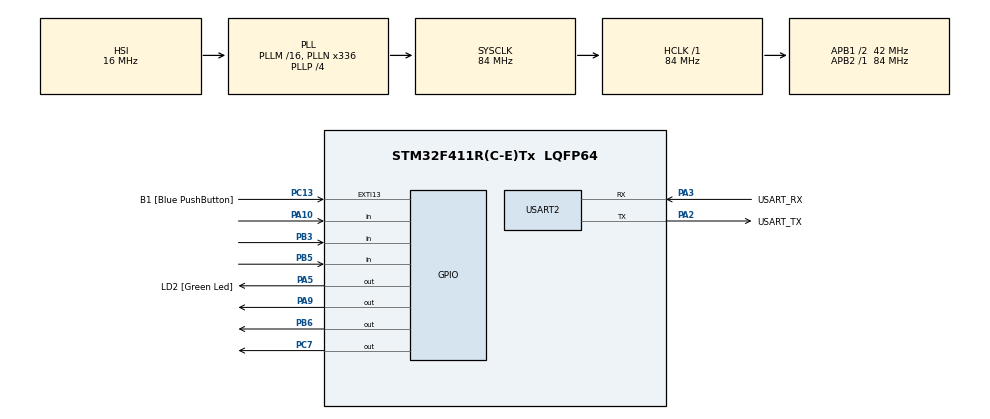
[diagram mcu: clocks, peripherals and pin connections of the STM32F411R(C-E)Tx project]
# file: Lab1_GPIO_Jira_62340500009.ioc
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Mcu.Family=STM32F4
Mcu.Name=STM32F411R(C-E)Tx
Mcu.Package=LQFP64
NVIC.PriorityGroup=NVIC_PRIORITYGROUP_0
PA10.Signal=GPIO_Input
PA13.GPIO_Label=TMS
PA13.Mode=Serial_Wire
PA13.Signal=SYS_JTMS-SWDIO
PA14.GPIO_Label=TCK
PA14.Mode=Serial_Wire
PA14.Signal=SYS_JTCK-SWCLK
PA2.GPIO_Label=USART_TX
PA2.Mode=Asynchronous
PA2.Signal=USART2_TX
PA3.GPIO_Label=USART_RX
PA3.Mode=Asynchronous
PA3.Signal=USART2_RX
PA5.GPIO_Label=LD2 [Green Led]
PA5.Signal=GPIO_Output
PA9.Signal=GPIO_Output
PB3.Signal=GPIO_Input
PB5.Signal=GPIO_Input
PB6.Signal=GPIO_Output
PC13-ANTI_TAMP.GPIO_Label=B1 [Blue PushButton]
PC13-ANTI_TAMP.GPIO_ModeDefaultEXTI=GPIO_MODE_IT_FALLING
PC13-ANTI_TAMP.Signal=GPXTI13
PC14-OSC32_IN.Mode=LSE-External-Oscillator
PC14-OSC32_IN.Signal=RCC_OSC32_IN
PC15-OSC32_OUT.Mode=LSE-External-Oscillator
PC15-OSC32_OUT.Signal=RCC_OSC32_OUT
PC7.Signal=GPIO_Output
PH0\ -\ OSC_IN.Mode=HSE-External-Clock-Source
PH0\ -\ OSC_IN.Signal=RCC_OSC_IN
PH1\ -\ OSC_OUT.Mode=HSE-External-Clock-Source
PH1\ -\ OSC_OUT.Signal=RCC_OSC_OUT
ProjectManager.HeapSize=0x200
ProjectManager.StackSize=0x400
ProjectManager.TargetToolchain=STM32CubeIDE
RCC.48MHZClocksFreq_Value=84000000
RCC.AHBFreq_Value=84000000
RCC.APB1CLKDivider=RCC_HCLK_DIV2
RCC.APB1Freq_Value=42000000
RCC.APB1TimFreq_Value=84000000
RCC.APB2Freq_Value=84000000
RCC.APB2TimFreq_Value=84000000
RCC.CortexFreq_Value=84000000
RCC.FLatency-AdvancedSettings=FLASH_LATENCY_2
RCC.HCLKFreq_Value=84000000
RCC.HSE_VALUE=8000000
RCC.HSI_VALUE=16000000
RCC.PLLN=336
RCC.PLLP=RCC_PLLP_DIV4
RCC.SYSCLKFreq_VALUE=84000000
RCC.SYSCLKSource=RCC_SYSCLKSOURCE_PLLCLK
RCC.VCOOutputFreq_Value=336000000
USART2.VirtualMode=VM_ASYNC
board=NUCLEO-F411RE

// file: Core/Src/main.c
/* USER CODE BEGIN Header */
/**
 ******************************************************************************
 * @file           : main.c
 * @brief          : Main program body
 ******************************************************************************
 * @attention
 *
 * <h2><center>&copy; Copyright (c) 2021 STMicroelectronics.
 * All rights reserved.</center></h2>
 *
 * This software component is licensed by ST under BSD 3-Clause license,
 * the "License"; You may not use this file except in compliance with the
 * License. You may obtain a copy of the License at:
 *                        opensource.org/licenses/BSD-3-Clause
 *
 ******************************************************************************
 */
/* USER CODE END Header */
#include "main.h"

UART_HandleTypeDef huart2;

void SystemClock_Config(void);
static void MX_GPIO_Init(void);
static void MX_USART2_UART_Init(void);

int main(void)
{

  /* MCU Configuration--------------------------------------------------------*/

  /* Reset of all peripherals, Initializes the Flash interface and the Systick. */
  HAL_Init();

  /* Configure the system clock */
  SystemClock_Config();

  /* Initialize all configured peripherals */
  MX_GPIO_Init();
  MX_USART2_UART_Init();
  /* USER CODE BEGIN 2 */

	GPIO_PinState Switchstate_1[2];
	GPIO_PinState Switchstate_2[2];
	GPIO_PinState Switchstate_3[2];
	uint16_t LED1_HalfPeriod = 1000;
	uint16_t W3_LED1 = 1500;
	uint16_t W3_LED2 = 500;
	uint32_t TimeStamp = 0;
	uint32_t TimeStamp2 = 0;
	uint32_t ButtonTimeStamp = 0;
	int8_t count = 0;
	int8_t On_Off = 0;
	int8_t work3 = 0;

  /* USER CODE END 2 */

  /* Infinite loop */
	while (1) {

    /* USER CODE BEGIN 3 */
		if(HAL_GetTick() - ButtonTimeStamp >= 100)
		{
			ButtonTimeStamp = HAL_GetTick();
			Switchstate_1[0] = HAL_GPIO_ReadPin(GPIOA, GPIO_PIN_10);
			if (Switchstate_1[1] == GPIO_PIN_SET
					&& Switchstate_1[0] == GPIO_PIN_RESET)
			{
				count += 1;
				if (count == 4)
				{
					count = 0;
				}
			}
			Switchstate_1[1] = Switchstate_1[0];

			if (count == 0)
			{
				LED1_HalfPeriod = 1000;
			}
			if (count == 1)
			{
				LED1_HalfPeriod = 500;
			}
			if (count == 2)
			{
				LED1_HalfPeriod = 250;
			}
			if (count == 3)
			{
				LED1_HalfPeriod = 166;
			}

			Switchstate_2[0] = HAL_GPIO_ReadPin(GPIOB, GPIO_PIN_3);
			if (Switchstate_2[1] == GPIO_PIN_SET
					&& Switchstate_2[0] == GPIO_PIN_RESET) {
				if(On_Off == 0)
				{
					On_Off = 1;
				}
				else
				{
					On_Off = 0;
				}
			}
			Switchstate_2[1] = Switchstate_2[0];
			if (On_Off == 1) {
				HAL_GPIO_WritePin(GPIOC, GPIO_PIN_7, GPIO_PIN_SET);
			}
			if (On_Off == 0) {
				HAL_GPIO_WritePin(GPIOC, GPIO_PIN_7, GPIO_PIN_RESET);
			}

			Switchstate_3[0] = HAL_GPIO_ReadPin(GPIOB, GPIO_PIN_5);
			if (Switchstate_3[1] == GPIO_PIN_SET
					&& Switchstate_3[0] == GPIO_PIN_RESET)
			{
				if(work3 == 0)
				{
					work3 = 1;
				}
				else
				{
					work3 = 0;
				}
			}
			Switchstate_3[1] = Switchstate_3[0];
			if(work3 == 0)
			{
				if (HAL_GetTick() - TimeStamp2 >= W3_LED1)
				{

					if(HAL_GPIO_ReadPin(GPIOB, GPIO_PIN_6) == GPIO_PIN_RESET)
					{
						HAL_GPIO_WritePin(GPIOB, GPIO_PIN_6, GPIO_PIN_SET);
						TimeStamp2 = HAL_GetTick();
					}
				}
				if (HAL_GetTick() - TimeStamp2 >= W3_LED2)
				{
					if(HAL_GPIO_ReadPin(GPIOB, GPIO_PIN_6) == GPIO_PIN_SET)
					{
						HAL_GPIO_WritePin(GPIOB, GPIO_PIN_6, GPIO_PIN_RESET);
						TimeStamp2 = HAL_GetTick();
					}

				}

			}
			if(work3 == 1)
			{
				if (HAL_GetTick() - TimeStamp2 >= W3_LED2)
				{

					if(HAL_GPIO_ReadPin(GPIOB, GPIO_PIN_6) == GPIO_PIN_RESET)
					{
						HAL_GPIO_WritePin(GPIOB, GPIO_PIN_6, GPIO_PIN_SET);
						TimeStamp2 = HAL_GetTick();
					}
				}
				if (HAL_GetTick() - TimeStamp2 >= W3_LED1)
				{
					if(HAL_GPIO_ReadPin(GPIOB, GPIO_PIN_6) == GPIO_PIN_SET)
					{
						HAL_GPIO_WritePin(GPIOB, GPIO_PIN_6, GPIO_PIN_RESET);
						TimeStamp2 = HAL_GetTick();
					}

				}

			}

		}
		if (HAL_GetTick() - TimeStamp >= LED1_HalfPeriod) {
			TimeStamp = HAL_GetTick();
			if (HAL_GPIO_ReadPin(GPIOA, GPIO_PIN_9) == GPIO_PIN_SET)
			{
				HAL_GPIO_WritePin(GPIOA, GPIO_PIN_9, GPIO_PIN_RESET);
			}
			else
			{
				HAL_GPIO_WritePin(GPIOA, GPIO_PIN_9, GPIO_PIN_SET);
			}

		}

	}

  /* USER CODE END 3 */
}

void SystemClock_Config(void)
{
  RCC_OscInitTypeDef RCC_OscInitStruct = {0};
  RCC_ClkInitTypeDef RCC_ClkInitStruct = {0};

  /** Configure the main internal regulator output voltage
  */
  __HAL_RCC_PWR_CLK_ENABLE();
  __HAL_PWR_VOLTAGESCALING_CONFIG(PWR_REGULATOR_VOLTAGE_SCALE1);
  /** Initializes the RCC Oscillators according to the specified parameters
  * in the RCC_OscInitTypeDef structure.
  */
  RCC_OscInitStruct.OscillatorType = RCC_OSCILLATORTYPE_HSI;
  RCC_OscInitStruct.HSIState = RCC_HSI_ON;
  RCC_OscInitStruct.HSICalibrationValue = RCC_HSICALIBRATION_DEFAULT;
  RCC_OscInitStruct.PLL.PLLState = RCC_PLL_ON;
  RCC_OscInitStruct.PLL.PLLSource = RCC_PLLSOURCE_HSI;
  RCC_OscInitStruct.PLL.PLLM = 16;
  RCC_OscInitStruct.PLL.PLLN = 336;
  RCC_OscInitStruct.PLL.PLLP = RCC_PLLP_DIV4;
  RCC_OscInitStruct.PLL.PLLQ = 4;
  if (HAL_RCC_OscConfig(&RCC_OscInitStruct) != HAL_OK)
  {
    Error_Handler();
  }
  /** Initializes the CPU, AHB and APB buses clocks
  */
  RCC_ClkInitStruct.ClockType = RCC_CLOCKTYPE_HCLK|RCC_CLOCKTYPE_SYSCLK
                              |RCC_CLOCKTYPE_PCLK1|RCC_CLOCKTYPE_PCLK2;
  RCC_ClkInitStruct.SYSCLKSource = RCC_SYSCLKSOURCE_PLLCLK;
  RCC_ClkInitStruct.AHBCLKDivider = RCC_SYSCLK_DIV1;
  RCC_ClkInitStruct.APB1CLKDivider = RCC_HCLK_DIV2;
  RCC_ClkInitStruct.APB2CLKDivider = RCC_HCLK_DIV1;

  if (HAL_RCC_ClockConfig(&RCC_ClkInitStruct, FLASH_LATENCY_2) != HAL_OK)
  {
    Error_Handler();
  }
}

static void MX_USART2_UART_Init(void)
{

  huart2.Instance = USART2;
  huart2.Init.BaudRate = 115200;
  huart2.Init.WordLength = UART_WORDLENGTH_8B;
  huart2.Init.StopBits = UART_STOPBITS_1;
  huart2.Init.Parity = UART_PARITY_NONE;
  huart2.Init.Mode = UART_MODE_TX_RX;
  huart2.Init.HwFlowCtl = UART_HWCONTROL_NONE;
  huart2.Init.OverSampling = UART_OVERSAMPLING_16;
  if (HAL_UART_Init(&huart2) != HAL_OK)
  {
    Error_Handler();
  }

}

static void MX_GPIO_Init(void)
{
  GPIO_InitTypeDef GPIO_InitStruct = {0};

  /* GPIO Ports Clock Enable */
  __HAL_RCC_GPIOC_CLK_ENABLE();
  __HAL_RCC_GPIOH_CLK_ENABLE();
  __HAL_RCC_GPIOA_CLK_ENABLE();
  __HAL_RCC_GPIOB_CLK_ENABLE();

  /*Configure GPIO pin Output Level */
  HAL_GPIO_WritePin(GPIOA, LD2_Pin|GPIO_PIN_9, GPIO_PIN_RESET);

  /*Configure GPIO pin Output Level */
  HAL_GPIO_WritePin(GPIOC, GPIO_PIN_7, GPIO_PIN_RESET);

  /*Configure GPIO pin Output Level */
  HAL_GPIO_WritePin(GPIOB, GPIO_PIN_6, GPIO_PIN_RESET);

  /*Configure GPIO pin : B1_Pin */
  GPIO_InitStruct.Pin = B1_Pin;
  GPIO_InitStruct.Mode = GPIO_MODE_IT_FALLING;
  GPIO_InitStruct.Pull = GPIO_NOPULL;
  HAL_GPIO_Init(B1_GPIO_Port, &GPIO_InitStruct);

  /*Configure GPIO pins : LD2_Pin PA9 */
  GPIO_InitStruct.Pin = LD2_Pin|GPIO_PIN_9;
  GPIO_InitStruct.Mode = GPIO_MODE_OUTPUT_PP;
  GPIO_InitStruct.Pull = GPIO_NOPULL;
  GPIO_InitStruct.Speed = GPIO_SPEED_FREQ_LOW;
  HAL_GPIO_Init(GPIOA, &GPIO_InitStruct);

  /*Configure GPIO pin : PC7 */
  GPIO_InitStruct.Pin = GPIO_PIN_7;
  GPIO_InitStruct.Mode = GPIO_MODE_OUTPUT_PP;
  GPIO_InitStruct.Pull = GPIO_NOPULL;
  GPIO_InitStruct.Speed = GPIO_SPEED_FREQ_LOW;
  HAL_GPIO_Init(GPIOC, &GPIO_InitStruct);

  /*Configure GPIO pin : PA10 */
  GPIO_InitStruct.Pin = GPIO_PIN_10;
  GPIO_InitStruct.Mode = GPIO_MODE_INPUT;
  GPIO_InitStruct.Pull = GPIO_NOPULL;
  HAL_GPIO_Init(GPIOA, &GPIO_InitStruct);

  /*Configure GPIO pins : PB3 PB5 */
  GPIO_InitStruct.Pin = GPIO_PIN_3|GPIO_PIN_5;
  GPIO_InitStruct.Mode = GPIO_MODE_INPUT;
  GPIO_InitStruct.Pull = GPIO_NOPULL;
  HAL_GPIO_Init(GPIOB, &GPIO_InitStruct);

  /*Configure GPIO pin : PB6 */
  GPIO_InitStruct.Pin = GPIO_PIN_6;
  GPIO_InitStruct.Mode = GPIO_MODE_OUTPUT_PP;
  GPIO_InitStruct.Pull = GPIO_NOPULL;
  GPIO_InitStruct.Speed = GPIO_SPEED_FREQ_LOW;
  HAL_GPIO_Init(GPIOB, &GPIO_InitStruct);

}

void Error_Handler(void)
{
	__disable_irq();
	while (1) {
	}
}

/************************ (C) COPYRIGHT STMicroelectronics *****END OF FILE****/
